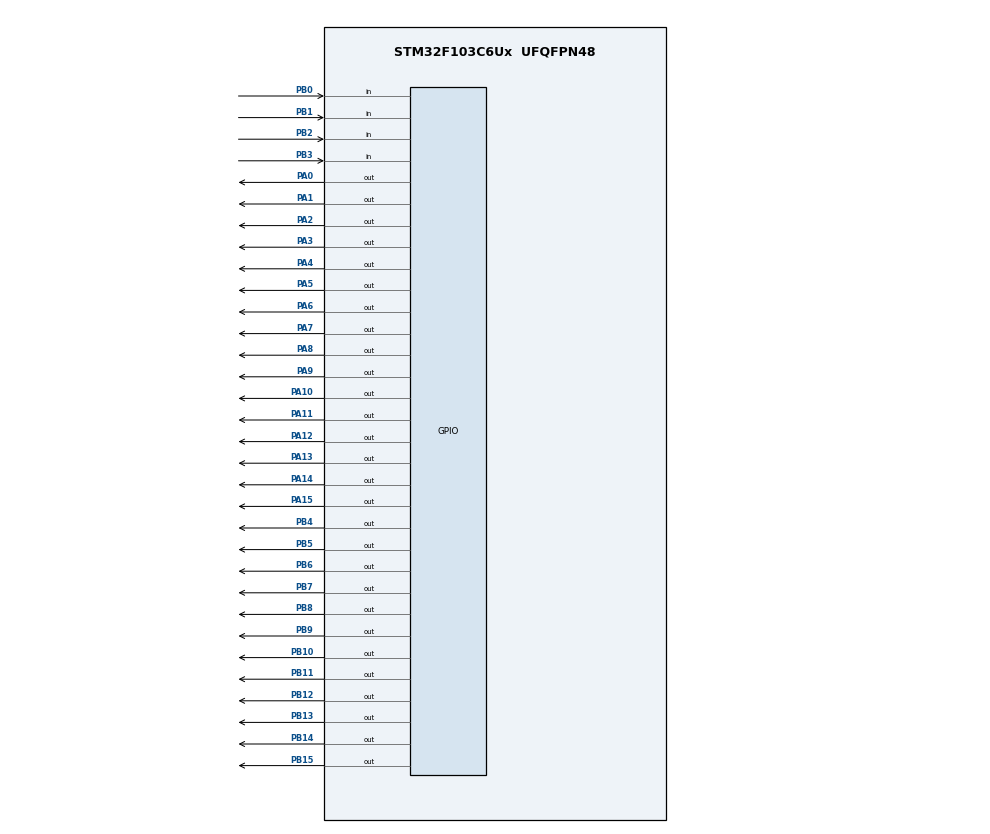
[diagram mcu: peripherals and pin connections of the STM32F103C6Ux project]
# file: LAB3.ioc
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Mcu.Family=STM32F1
Mcu.Name=STM32F103C6Ux
Mcu.Package=UFQFPN48
NVIC.PriorityGroup=NVIC_PRIORITYGROUP_4
NVIC.TIM2_IRQn=true\:0\:0\:false\:false\:true\:true\:true
PA0-WKUP.Signal=GPIO_Output
PA1.Signal=GPIO_Output
PA10.Signal=GPIO_Output
PA11.Signal=GPIO_Output
PA12.Signal=GPIO_Output
PA13.Signal=GPIO_Output
PA14.Signal=GPIO_Output
PA15.Signal=GPIO_Output
PA2.Signal=GPIO_Output
PA3.Signal=GPIO_Output
PA4.Signal=GPIO_Output
PA5.Signal=GPIO_Output
PA6.Signal=GPIO_Output
PA7.Signal=GPIO_Output
PA8.Signal=GPIO_Output
PA9.Signal=GPIO_Output
PB0.Signal=GPIO_Input
PB1.Signal=GPIO_Input
PB10.Signal=GPIO_Output
PB11.Signal=GPIO_Output
PB12.Signal=GPIO_Output
PB13.Signal=GPIO_Output
PB14.Signal=GPIO_Output
PB15.Signal=GPIO_Output
PB2.Signal=GPIO_Input
PB3.Signal=GPIO_Input
PB4.Signal=GPIO_Output
PB5.Signal=GPIO_Output
PB6.Signal=GPIO_Output
PB7.Signal=GPIO_Output
PB8.Signal=GPIO_Output
PB9.Signal=GPIO_Output
ProjectManager.HeapSize=0x200
ProjectManager.StackSize=0x400
ProjectManager.TargetToolchain=STM32CubeIDE
RCC.APB1Freq_Value=8000000
RCC.APB2Freq_Value=8000000
TIM2.Period=9
TIM2.Prescaler=7999
VP_SYS_VS_ND.Mode=No_Debug
VP_TIM2_VS_ClockSourceINT.Mode=Internal
board=custom

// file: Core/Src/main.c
/* USER CODE BEGIN Header */
/**
  ******************************************************************************
  * @file           : main.c
  * @brief          : Main program body
  ******************************************************************************
  * @attention
  *
  * <h2><center>&copy; Copyright (c) 2021 STMicroelectronics.
  * All rights reserved.</center></h2>
  *
  * This software component is licensed by ST under BSD 3-Clause license,
  * the "License"; You may not use this file except in compliance with the
  * License. You may obtain a copy of the License at:
  *                        opensource.org/licenses/BSD-3-Clause
  *
  ******************************************************************************
  */
/* USER CODE END Header */
#include "main.h"

/* USER CODE BEGIN Includes */
#include <button/input_processing.h>
#include <button/input_reading.h>
#include <leds_display/Functions_Light.h>
#include <timer/timer.h>
#include <leds_display/led_7seg_display.h>
#include <fault_control/fault_control.h>
/* USER CODE END Includes */

TIM_HandleTypeDef htim2;

void SystemClock_Config(void);
static void MX_GPIO_Init(void);
static void MX_TIM2_Init(void);

/* USER CODE BEGIN 0 */
int timer0_counter = 0;
int timer0_flag = 0;

void setTimer0(int duration){
	timer0_counter = duration/TIME_CYCLE;
	timer0_flag = 0;
}

void timer0_run(){
	if(timer0_counter <= 0)timer0_flag = 1;
	timer0_counter--;
}
/* USER CODE END 0 */

int main(void)
{

  /* MCU Configuration--------------------------------------------------------*/

  /* Reset of all peripherals, Initializes the Flash interface and the Systick. */
  HAL_Init();

  /* Configure the system clock */
  SystemClock_Config();

  /* Initialize all configured peripherals */
  MX_GPIO_Init();
  MX_TIM2_Init();
  /* USER CODE BEGIN 2 */
  HAL_TIM_Base_Start_IT(&htim2);
  //Traffic_Light_Init(RED);
  Washing_Light_Init(READY);
  setTimer0(50);
  /* USER CODE END 2 */

  /* Infinite loop */
  while (1)
  {
	  if(timer0_flag == 1){
		  Washing_Update();
		  Washing_Light_Update();
		  setTimer0(50);
	  }
	  fsm_for_input1_processing(); // CHOOSE MODE
	  fsm_for_input2_processing(); // INCREASE MODE
	  fsm_for_input3_processing(); // DECREASE MODE
	  fsm_for_input4_processing(); // RUN/RESET MODE
  }
}

void SystemClock_Config(void)
{
  RCC_OscInitTypeDef RCC_OscInitStruct = {0};
  RCC_ClkInitTypeDef RCC_ClkInitStruct = {0};

  /** Initializes the RCC Oscillators according to the specified parameters
  * in the RCC_OscInitTypeDef structure.
  */
  RCC_OscInitStruct.OscillatorType = RCC_OSCILLATORTYPE_HSI;
  RCC_OscInitStruct.HSIState = RCC_HSI_ON;
  RCC_OscInitStruct.HSICalibrationValue = RCC_HSICALIBRATION_DEFAULT;
  RCC_OscInitStruct.PLL.PLLState = RCC_PLL_NONE;
  if (HAL_RCC_OscConfig(&RCC_OscInitStruct) != HAL_OK)
  {
    Error_Handler();
  }
  /** Initializes the CPU, AHB and APB buses clocks
  */
  RCC_ClkInitStruct.ClockType = RCC_CLOCKTYPE_HCLK|RCC_CLOCKTYPE_SYSCLK
                              |RCC_CLOCKTYPE_PCLK1|RCC_CLOCKTYPE_PCLK2;
  RCC_ClkInitStruct.SYSCLKSource = RCC_SYSCLKSOURCE_HSI;
  RCC_ClkInitStruct.AHBCLKDivider = RCC_SYSCLK_DIV1;
  RCC_ClkInitStruct.APB1CLKDivider = RCC_HCLK_DIV1;
  RCC_ClkInitStruct.APB2CLKDivider = RCC_HCLK_DIV1;

  if (HAL_RCC_ClockConfig(&RCC_ClkInitStruct, FLASH_LATENCY_0) != HAL_OK)
  {
    Error_Handler();
  }
}

static void MX_TIM2_Init(void)
{

  TIM_ClockConfigTypeDef sClockSourceConfig = {0};
  TIM_MasterConfigTypeDef sMasterConfig = {0};

  htim2.Instance = TIM2;
  htim2.Init.Prescaler = 7999;
  htim2.Init.CounterMode = TIM_COUNTERMODE_UP;
  htim2.Init.Period = 9;
  htim2.Init.ClockDivision = TIM_CLOCKDIVISION_DIV1;
  htim2.Init.AutoReloadPreload = TIM_AUTORELOAD_PRELOAD_DISABLE;
  if (HAL_TIM_Base_Init(&htim2) != HAL_OK)
  {
    Error_Handler();
  }
  sClockSourceConfig.ClockSource = TIM_CLOCKSOURCE_INTERNAL;
  if (HAL_TIM_ConfigClockSource(&htim2, &sClockSourceConfig) != HAL_OK)
  {
    Error_Handler();
  }
  sMasterConfig.MasterOutputTrigger = TIM_TRGO_RESET;
  sMasterConfig.MasterSlaveMode = TIM_MASTERSLAVEMODE_DISABLE;
  if (HAL_TIMEx_MasterConfigSynchronization(&htim2, &sMasterConfig) != HAL_OK)
  {
    Error_Handler();
  }

}

static void MX_GPIO_Init(void)
{
  GPIO_InitTypeDef GPIO_InitStruct = {0};

  /* GPIO Ports Clock Enable */
  __HAL_RCC_GPIOA_CLK_ENABLE();
  __HAL_RCC_GPIOB_CLK_ENABLE();

  /*Configure GPIO pin Output Level */
  HAL_GPIO_WritePin(GPIOA, GPIO_PIN_0|GPIO_PIN_1|GPIO_PIN_2|GPIO_PIN_3
                          |GPIO_PIN_4|GPIO_PIN_5|GPIO_PIN_6|GPIO_PIN_7
                          |GPIO_PIN_8|GPIO_PIN_9|GPIO_PIN_10|GPIO_PIN_11
                          |GPIO_PIN_12|GPIO_PIN_13|GPIO_PIN_14|GPIO_PIN_15, GPIO_PIN_RESET);

  /*Configure GPIO pin Output Level */
  HAL_GPIO_WritePin(GPIOB, GPIO_PIN_10|GPIO_PIN_11|GPIO_PIN_12|GPIO_PIN_13
                          |GPIO_PIN_14|GPIO_PIN_15|GPIO_PIN_4|GPIO_PIN_5
                          |GPIO_PIN_6|GPIO_PIN_7|GPIO_PIN_8|GPIO_PIN_9, GPIO_PIN_RESET);

  /*Configure GPIO pins : PA0 PA1 PA2 PA3
                           PA4 PA5 PA6 PA7
                           PA8 PA9 PA10 PA11
                           PA12 PA13 PA14 PA15 */
  GPIO_InitStruct.Pin = GPIO_PIN_0|GPIO_PIN_1|GPIO_PIN_2|GPIO_PIN_3
                          |GPIO_PIN_4|GPIO_PIN_5|GPIO_PIN_6|GPIO_PIN_7
                          |GPIO_PIN_8|GPIO_PIN_9|GPIO_PIN_10|GPIO_PIN_11
                          |GPIO_PIN_12|GPIO_PIN_13|GPIO_PIN_14|GPIO_PIN_15;
  GPIO_InitStruct.Mode = GPIO_MODE_OUTPUT_PP;
  GPIO_InitStruct.Pull = GPIO_NOPULL;
  GPIO_InitStruct.Speed = GPIO_SPEED_FREQ_LOW;
  HAL_GPIO_Init(GPIOA, &GPIO_InitStruct);

  /*Configure GPIO pins : PB0 PB1 PB2 PB3 */
  GPIO_InitStruct.Pin = GPIO_PIN_0|GPIO_PIN_1|GPIO_PIN_2|GPIO_PIN_3;
  GPIO_InitStruct.Mode = GPIO_MODE_INPUT;
  GPIO_InitStruct.Pull = GPIO_NOPULL;
  HAL_GPIO_Init(GPIOB, &GPIO_InitStruct);

  /*Configure GPIO pins : PB10 PB11 PB12 PB13
                           PB14 PB15 PB4 PB5
                           PB6 PB7 PB8 PB9 */
  GPIO_InitStruct.Pin = GPIO_PIN_10|GPIO_PIN_11|GPIO_PIN_12|GPIO_PIN_13
                          |GPIO_PIN_14|GPIO_PIN_15|GPIO_PIN_4|GPIO_PIN_5
                          |GPIO_PIN_6|GPIO_PIN_7|GPIO_PIN_8|GPIO_PIN_9;
  GPIO_InitStruct.Mode = GPIO_MODE_OUTPUT_PP;
  GPIO_InitStruct.Pull = GPIO_NOPULL;
  GPIO_InitStruct.Speed = GPIO_SPEED_FREQ_LOW;
  HAL_GPIO_Init(GPIOB, &GPIO_InitStruct);

}

void Error_Handler(void)
{
  __disable_irq();
  while (1)
  {
  }
}

/************************ (C) COPYRIGHT STMicroelectronics *****END OF FILE****/
